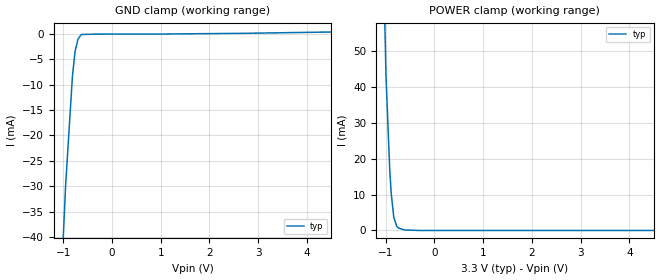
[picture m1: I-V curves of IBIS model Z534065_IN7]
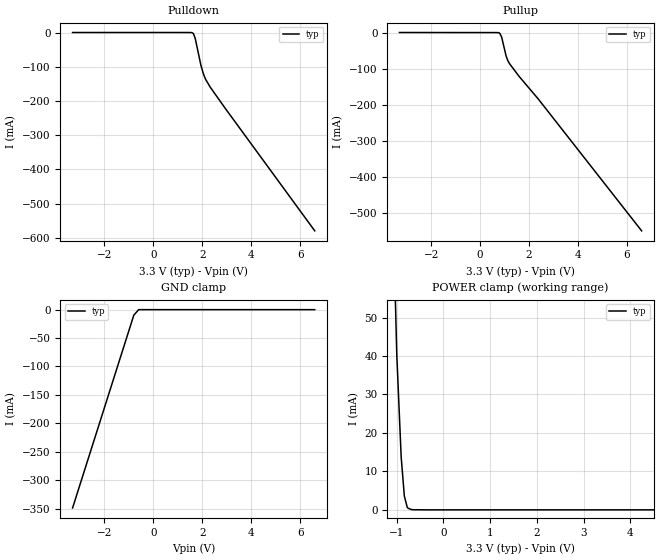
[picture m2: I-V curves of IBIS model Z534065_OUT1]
| YOU ARE ONLY AUTHORIZED TO USE THIS SOFTWARE
| ACCORDING TO LICENSOR'S LICENSE RESTRICTIONS.
[IBIS Ver] 3.1
[File Name] mc100lvel11dt_33.ibs
[File Rev] 0.1
[Source] Derived from mc100lvel11d_pecl.ibs Measured and created by
|   ICX Technology
[Date] 10/16/2001
[Copyright]
| (C) COPYRIGHT 1993-2000
| MENTOR GRAPHICS CORPORATION
| ICX STANDARD LIBRARY, ICX PROJECT MODELING,
| ICX CUSTOM MODELING, ICX VENDOR MODEL
| ALL RIGHTS RESERVED.
| THE FOLLOWING ARE TRADEMARKS OR SERVICE MARKS OF
| MENTOR GRAPHICS CORPORATION:ICX (R), ICX STANDARD
| LIBRARY(R), ICX PROJECT MODELING(R), ICX CUSTOM
| MODELING(R), qualityIBIS(TM), MODELVIEWER(TM),
| AND MODELEDITOR(TM)
| ALL COPIES OF SOFTWARE, INCLUDING BUT NOT LIMITED TO
| ANY MODIFICATIONS, ENHANCEMENTS OR DERIVATIVE WORKS,
| MUST CONTAIN ALL MENTOR GRAPHICS CORPORATION'S
| NOTICES AND LEGENDS, INCLUDING THOSE EMBEDDED IN
| SOFTWARE AND THOSE AFFIXED TO SOFTWARE MEDIUM
| AND CONTAINER, AS RECEIVED FROM MENTOR GRAPHICS
| CORPORATION.
|  ZAP Model Builder 2.7
[Component] MC100LVEL11DT_33
[Manufacturer] OnSemiconductor
[Package]
| variable   typ   min   max
R_pkg  .044ohms NA NA
L_pkg  1.82nH NA NA
C_pkg  .083pF NA NA
[Pin] signal_name  model_name  R_pin  L_pin C_pin
1 Q0 Z534065_OUT1 .044 1.802n .083p
2 _Q0 Z534065_OUT1 .044 1.802n .083p
3 Q1 Z534065_OUT1 .044 1.802n .083p
4 _Q1 Z534065_OUT1 .044 1.802n .083p
5 VEE POWER .044 1.802n .083p
6 _D Z534065_IN7 .044 1.802n .083p
7 D Z534065_IN7 .044 1.802n .083p
8 VCC POWER .044 1.802n .083p
[Diff Pin] inv_pin vdiff tdelay_typ tdelay_min tdelay_max
1 2 NA NA NA NA
3 4 NA NA NA NA
7 6 150mV NA NA NA
| Models and submodels in the file (2): Z534065_IN7 (Input_ECL), Z534065_OUT1 (Output_ECL)
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| (C) COPYRIGHT 1993-2000
| MENTOR GRAPHICS CORPORATION
| ICX STANDARD LIBRARY, ICX PROJECT MODELING,
| ICX CUSTOM MODELING, ICX VENDOR MODEL
| ALL RIGHTS RESERVED.
| THE FOLLOWING ARE TRADEMARKS OR SERVICE MARKS OF
| MENTOR GRAPHICS CORPORATION:ICX (R), ICX STANDARD
| LIBRARY(R), ICX PROJECT MODELING(R), ICX CUSTOM
| MODELING(R), qualityIBIS(TM), MODELVIEWER(TM),
| AND MODELEDITOR(TM)
| ALL COPIES OF SOFTWARE, INCLUDING BUT NOT LIMITED TO
| ANY MODIFICATIONS, ENHANCEMENTS OR DERIVATIVE WORKS,
| MUST CONTAIN ALL MENTOR GRAPHICS CORPORATION'S
| NOTICES AND LEGENDS, INCLUDING THOSE EMBEDDED IN
| SOFTWARE AND THOSE AFFIXED TO SOFTWARE MEDIUM
| AND CONTAINER, AS RECEIVED FROM MENTOR GRAPHICS
| CORPORATION.
| Model Application Version 1.89 2/18/99.
[Model] Z534065_IN7
Model_type Input_ECL
Vinl = 1.825V
Vinh = 2.135V
C_comp 2.000pF NA NA
| variable typ   min   max
[Voltage Range] 3.300V NA NA
[GND Clamp Reference] 0.000V NA NA
[POWER Clamp Reference] 3.300V NA NA
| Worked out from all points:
|   GND clamp passes 1 mA (typ) near -0.70 V on its own axis
|   POWER clamp passes 1 mA (typ) near -0.76 V on its own axis
[GND Clamp]
-3.3V     -642.5mA   NA         NA
-1.147V   -71.33mA   NA         NA
-951.6mV  -29.82mA   NA         NA
-811.6mV  -8.302mA   NA         NA
-758.6mV  -3.452mA   NA         NA
-697.8mV  -1.02mA    NA         NA
-639.6mV  -203.8uA   NA         NA
-620.2mV  -85.08uA   NA         NA
-310.1mV  -18.96uA   NA         NA
986.5mV   -6.604uA   NA         NA
2.733V    141.1uA    NA         NA
6.6V      705.2uA    NA         NA
[POWER Clamp]
-3.3V     1.894A     NA         NA
-1.128V   123mA      NA         NA
-995mV    42.88mA    NA         NA
-919mV    17.05mA    NA         NA
-888mV    10.32mA    NA         NA
-836mV    3.692mA    NA         NA
-774mV    1.127mA    NA         NA
-735mV    668.2uA    NA         NA
-618mV    144.7uA    NA         NA
-309mV    0A         NA         NA
6.6V      0A         NA         NA
| (C) COPYRIGHT 1993-2000
| MENTOR GRAPHICS CORPORATION
| ICX STANDARD LIBRARY, ICX PROJECT MODELING,
| ICX CUSTOM MODELING, ICX VENDOR MODEL
| ALL RIGHTS RESERVED.
| THE FOLLOWING ARE TRADEMARKS OR SERVICE MARKS OF
| MENTOR GRAPHICS CORPORATION:ICX (R), ICX STANDARD
| LIBRARY(R), ICX PROJECT MODELING(R), ICX CUSTOM
| MODELING(R), qualityIBIS(TM), MODELVIEWER(TM),
| AND MODELEDITOR(TM)
| ALL COPIES OF SOFTWARE, INCLUDING BUT NOT LIMITED TO
| ANY MODIFICATIONS, ENHANCEMENTS OR DERIVATIVE WORKS,
| MUST CONTAIN ALL MENTOR GRAPHICS CORPORATION'S
| NOTICES AND LEGENDS, INCLUDING THOSE EMBEDDED IN
| SOFTWARE AND THOSE AFFIXED TO SOFTWARE MEDIUM
| AND CONTAINER, AS RECEIVED FROM MENTOR GRAPHICS
| CORPORATION.
| Model Application Version 1.89 2/18/99.
[Model] Z534065_OUT1
Model_type Output_ECL
Vref=1.300V
Rref=50.00ohms
Cref=0.000F
Vmeas=1.977V
C_comp 2.000pF NA NA
| variable typ   min   max
[Voltage Range] 3.300V NA NA
[POWER Clamp Reference] 3.300V NA NA
[Pullup Reference] 3.300V NA NA
[Pulldown Reference] 3.300V NA NA
[GND Clamp Reference] 0.000V NA NA
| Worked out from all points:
|   GND clamp passes 1 mA (typ) near -0.62 V on its own axis
|   POWER clamp passes 1 mA (typ) near -0.78 V on its own axis
[GND Clamp]
-3.3V     -349.1mA   NA         NA
-796.7mV  -9.743mA   NA         NA
-597.5mV  0A         NA         NA
6.6V      0A         NA         NA
[Pulldown]
-3.3V     28.95uA    NA         NA
1.611V    -1.506mA   NA         NA
1.647V    -4.282mA   NA         NA
1.715V    -17.62mA   NA         NA
1.949V    -96.7mA    NA         NA
2.046V    -120.1mA   NA         NA
2.128V    -135.4mA   NA         NA
2.324V    -159.2mA   NA         NA
6.6V      -579.2mA   NA         NA
[Pullup]
-3.3V     248.9uA    NA         NA
710mV     -28.07uA   NA         NA
805mV     -2.303mA   NA         NA
878mV     -12.52mA   NA         NA
1.062V    -65.29mA   NA         NA
1.127V    -76.98mA   NA         NA
1.196V    -85.64mA   NA         NA
1.581V    -120.3mA   NA         NA
2.381V    -184.3mA   NA         NA
6.6V      -548.6mA   NA         NA
[POWER Clamp]
-3.3V     1.133A     NA         NA
-998mV    40.4mA     NA         NA
-904mV    13.8mA     NA         NA
-836mV    3.596mA    NA         NA
-775mV    695.5uA    NA         NA
-756mV    425.1uA    NA         NA
-697mV    117.8uA    NA         NA
-657mV    32.34uA    NA         NA
-328.5mV  0A         NA         NA
6.6V      0A         NA         NA
[Ramp]
| variable typ min max
dV/dt_r 486.1m/355.4p NA NA
dV/dt_f 486.1m/234.5p NA NA
R_load = 500.0Ohms
